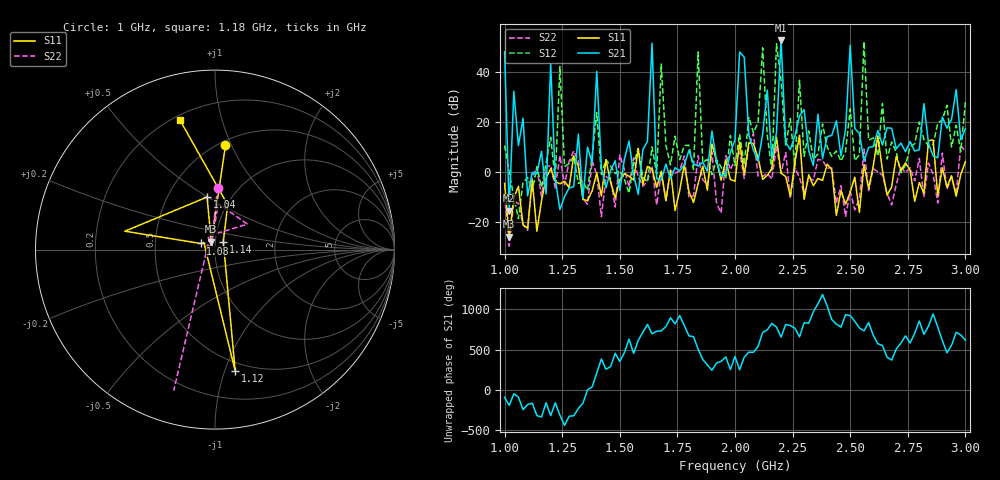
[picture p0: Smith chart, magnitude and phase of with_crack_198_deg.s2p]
# MHz S MA R 50
!  freq  S11  S21  S12  S22
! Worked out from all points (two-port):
!   101 points, 1 GHz to 3 GHz, reference 50 ohm
!   highest |S21| = 52.84 dB at 2.2 GHz (marker M1); lowest = -15.7 dB at 1.02 GHz (marker M2)
!   |S21| within 3 dB of the highest: 1.639038 GHz to 1.640699 GHz (1.661 MHz wide, 0.101 % of centre); 2.198381 GHz to 2.201464 GHz (3.083 MHz wide, 0.14 % of centre) (the widest 2 of 3)
!   lowest |S11| = -26.1 dB at 1.02 GHz (marker M3), VSWR 1.10, Z = 47.8 + j4.31 ohm
!   |S11| at or under -10 dB: 1.005 GHz to 1.042 GHz (37.43 MHz wide, 3.66 % of centre); 1.065 GHz to 1.113 GHz (47.62 MHz wide, 4.37 % of centre); 1.127 GHz to 1.164 GHz (37.23 MHz wide, 3.25 % of centre) (the widest 3 of 13)
!   |S22| runs from -29.9 to 15.4 dB; largest |S21 - S12| = 4.3e+02
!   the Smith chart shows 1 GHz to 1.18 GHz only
!   S11 on the Smith chart (normalised r, x): 1 GHz: 0.54, +0.95; 1.04 GHz: 0.78, +0.50; 1.08 GHz: 0.85, +0.06; 1.12 GHz: 0.42, -1.09; 1.14 GHz: 1.09, +0.10; 1.18 GHz: 0.22, +0.74
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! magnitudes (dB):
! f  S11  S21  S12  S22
! 1 GHz  -4.7  48.3  10.6  -9.3
! 1.02 GHz  -26.1  -15.7  -0.2  -29.9
! 1.04 GHz  -10.6  32.4  -10.3  -11.8
! 1.08 GHz  -21.2  21.6  -4.3  -21.3
! 1.12 GHz  -3.3  -0.2  -7.7  -1.7
! 1.14 GHz  -23.9  -0.9  2.1  1.5
! 1.18 GHz  -2.5  -8.9  3.5  1.8
! 1.2 GHz  1.3  43.4  13.9  2.7
! 1.24 GHz  -4.9  -15.2  42.3  6.5
! 1.34 GHz  -11.1  -10.5  -3.9  -10.7
! 1.4 GHz  -0.5  40.4  23.8  -1.1
! 1.58 GHz  9.4  -9.1  9.4  -2.1
! 1.64 GHz  1.2  51.7  10.0  2.3
! 1.68 GHz  0.3  -3.4  43.4  0.1
! 2 GHz  -3.8  12.9  2.5  4.9
! 2.16 GHz  1.3  5.2  0.7  -2.9
! 2.2 GHz  -0.6  52.8  36.7  -0.6
! 2.34 GHz  -5.6  2.6  5.0  -3.3
! 2.5 GHz  -8.1  50.9  25.3  -7.9
! 2.56 GHz  2.9  4.3  52.4  9.2
! 2.68 GHz  -6.0  17.5  12.0  -13.3
! 3 GHz  4.1  17.3  28.1  8.0
